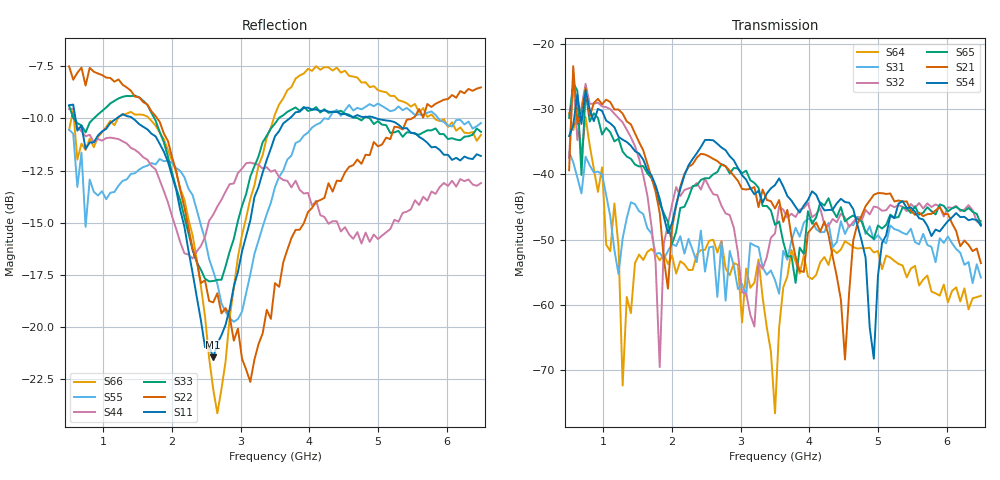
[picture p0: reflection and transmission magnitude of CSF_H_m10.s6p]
!Keysight Technologies,M9804A,MY58100912,A.14.10.03
!Date: Thursday, April 27, 2023 10:28:33
!Correction: S11(C  6-Port  )
!S12(C  6-Port  )
!S13(C  6-Port  )
!S14(C  6-Port  )
!S15(C  6-Port  )
!S16(C  6-Port  )
!S21(C  6-Port  )
!S22(C  6-Port  )
!S23(C  6-Port  )
!S24(C  6-Port  )
!S25(C  6-Port  )
!S26(C  6-Port  )
!S31(C  6-Port  )
!S32(C  6-Port  )
!S33(C  6-Port  )
!S34(C  6-Port  )
!S35(C  6-Port  )
!S36(C  6-Port  )
!S41(C  6-Port  )
!S42(C  6-Port  )
!S43(C  6-Port  )
!S44(C  6-Port  )
!S45(C  6-Port  )
!S46(C  6-Port  )
!S51(C  6-Port  )
!S52(C  6-Port  )
!S53(C  6-Port  )
!S54(C  6-Port  )
!S55(C  6-Port  )
!S56(C  6-Port  )
!S61(C  6-Port  )
!S62(C  6-Port  )
!S63(C  6-Port  )
!S64(C  6-Port  )
!S65(C  6-Port  )
!S66(C  6-Port  )
!S6P File: Measurement: :
# Hz S  RI  R 50
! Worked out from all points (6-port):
!   101 points, 500 MHz to 6.5 GHz, reference 50 ohm
!   strongest paths, dB at 500 MHz, 2 GHz, 3.5 GHz, 5 GHz, 6.5 GHz:
!     S54: -34.1, -47.5, -41.6, -55.5, -47.9
!     S21: -39.4, -48.2, -45.2, -42.8, -53.6
!     S65: -31.3, -50.6, -47.7, -47.8, -47.6
!     S32: -37.5, -44.6, -49.0, -45.1, -47.1
!     S31: -36.6, -50.7, -56.2, -49.3, -55.8
!     S64: -30.5, -52.4, -76.6, -51.7, -58.6
!   lowest |S11| = -21.4 dB at 2.6 GHz (marker M1), VSWR 1.18, Z = 42.5 + j2.16 ohm
!   |S11| at or under -10 dB: 591.8 MHz to 1.191 GHz (599.5 MHz wide, 67.2 % of centre); 1.428 GHz to 3.712 GHz (2.284 GHz wide, 88.9 % of centre); 4.978 GHz to end of sweep
